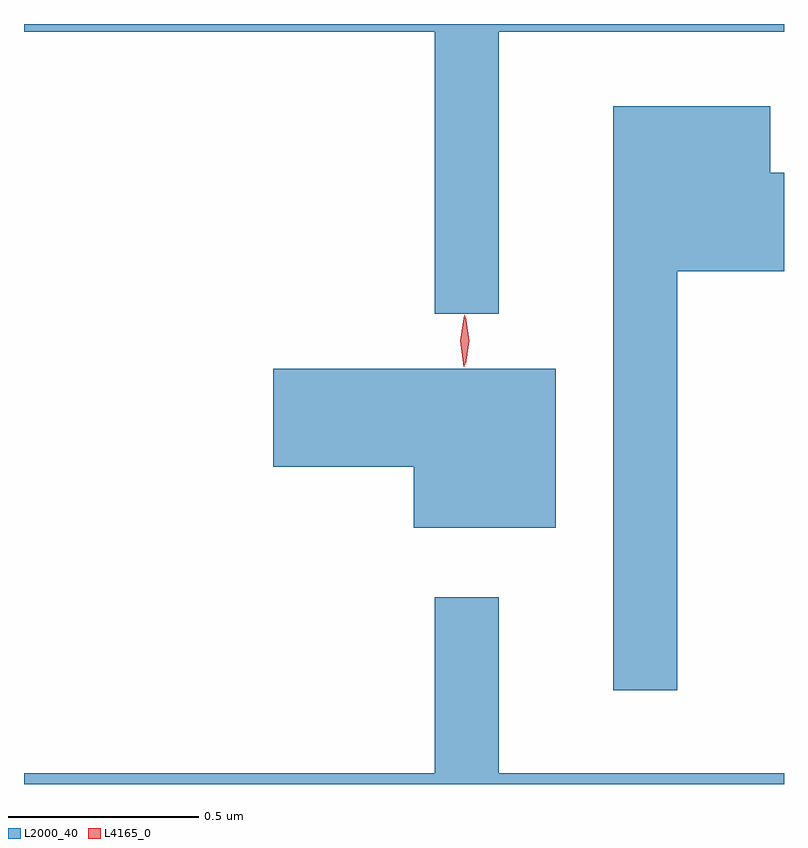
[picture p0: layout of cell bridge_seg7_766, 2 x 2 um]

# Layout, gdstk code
import gdstk
lib = gdstk.Library(unit=1e-6, precision=1e-09)
def P(c, l, *ps):  # polygons
    for p in ps: c.add(gdstk.Polygon(p, *l))
L2000_40 = (2000, 40)
L4165_0 = (4165, 0)

bridge_seg7_766 = lib.new_cell('bridge_seg7_766')
P(bridge_seg7_766, L2000_40, [(525.949,1772.036),(526.7,1772.036),(526.7,1772.056),(524.7,1772.056),(524.7,1772.036),(525.781,1772.036),(525.781,1771.293),(525.949,1771.293)],
  [(526.419,1771.406),(526.7,1771.406),(526.7,1771.664),(526.664,1771.664),(526.664,1771.839),(526.251,1771.839),(526.251,1770.303),(526.419,1770.303)],
  [(526.099,1771.149),(525.356,1771.149),(525.356,1770.891),(525.726,1770.891),(525.726,1770.731),(526.099,1770.731)],
  [(526.7,1770.084),(525.949,1770.084),(525.949,1770.548),(525.781,1770.548),(525.781,1770.084),(524.7,1770.084),(524.7,1770.056),(526.7,1770.056)])
P(bridge_seg7_766, L4165_0, [(525.862,1771.16),(525.862,1771.16),(525.852,1771.223),(525.862,1771.286),(525.862,1771.287),(525.863,1771.286),(525.872,1771.223),(525.863,1771.16)],
  [(525.857,1771.154),(525.857,1771.154),(525.848,1771.222),(525.859,1771.29),(525.859,1771.29),(525.86,1771.29),(525.868,1771.222),(525.858,1771.154)])

lib.write_gds('bridge_seg7_766.gds')
